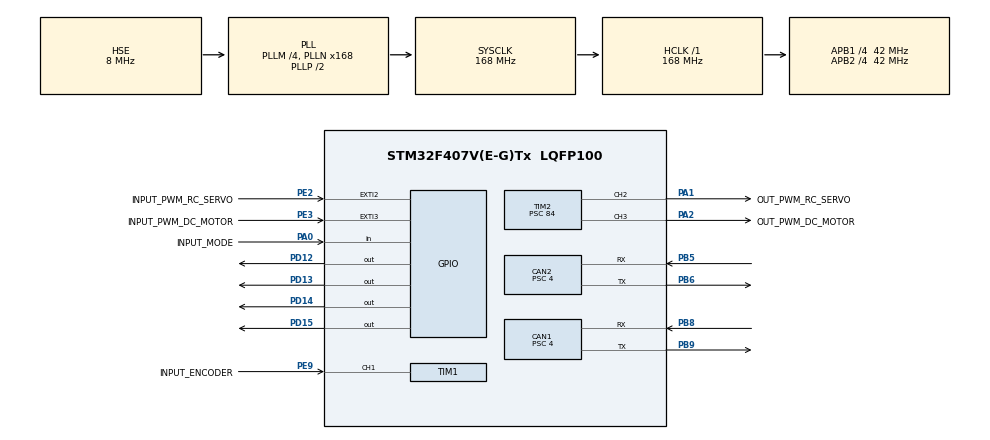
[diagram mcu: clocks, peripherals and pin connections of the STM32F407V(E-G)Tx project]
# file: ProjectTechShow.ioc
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CAN1.BS1=CAN_BS1_14TQ
CAN1.BS2=CAN_BS2_6TQ
CAN1.CalculateTimeBit=2000
CAN1.CalculateTimeQuantum=95.23809523809524
CAN1.Prescaler=4
CAN2.BS1=CAN_BS1_14TQ
CAN2.BS2=CAN_BS2_6TQ
CAN2.CalculateTimeBit=2000
CAN2.CalculateTimeQuantum=95.23809523809524
CAN2.Prescaler=4
Mcu.Family=STM32F4
Mcu.Name=STM32F407V(E-G)Tx
Mcu.Package=LQFP100
NVIC.CAN1_RX0_IRQn=true\:0\:0\:false\:false\:true
NVIC.CAN2_RX0_IRQn=true\:0\:0\:false\:false\:true
NVIC.EXTI2_IRQn=true\:0\:0\:false\:false\:true
NVIC.EXTI3_IRQn=true\:0\:0\:false\:false\:true
NVIC.PriorityGroup=NVIC_PRIORITYGROUP_0
NVIC.TIM4_IRQn=true\:0\:0\:false\:false\:true
PA0-WKUP.GPIO_Label=INPUT_MODE
PA0-WKUP.Signal=GPIO_Input
PA1.GPIO_Label=OUT_PWM_RC_SERVO
PA1.Signal=S_TIM2_CH2
PA2.GPIO_Label=OUT_PWM_DC_MOTOR
PA2.Signal=S_TIM2_CH3
PB5.Mode=Slave
PB5.Signal=CAN2_RX
PB6.Mode=Slave
PB6.Signal=CAN2_TX
PB8.Mode=Master
PB8.Signal=CAN1_RX
PB9.Mode=Master
PB9.Signal=CAN1_TX
PD12.Signal=GPIO_Output
PD13.Signal=GPIO_Output
PD14.Signal=GPIO_Output
PD15.Signal=GPIO_Output
PE2.GPIO_Label=INPUT_PWM_RC_SERVO
PE2.GPIO_ModeDefaultEXTI=GPIO_MODE_IT_RISING_FALLING
PE2.GPIO_PuPd=GPIO_PULLUP
PE2.Signal=GPXTI2
PE3.GPIO_Label=INPUT_PWM_DC_MOTOR
PE3.GPIO_ModeDefaultEXTI=GPIO_MODE_IT_RISING_FALLING
PE3.GPIO_PuPd=GPIO_PULLUP
PE3.Signal=GPXTI3
PE9.GPIO_Label=INPUT_ENCODER
PE9.Signal=S_TIM1_CH1
PH0-OSC_IN.Mode=HSE-External-Clock-Source
PH0-OSC_IN.Signal=RCC_OSC_IN
PH1-OSC_OUT.Mode=HSE-External-Clock-Source
PH1-OSC_OUT.Signal=RCC_OSC_OUT
ProjectManager.HeapSize=0x200
ProjectManager.StackSize=0x400
ProjectManager.TargetToolchain=MDK-ARM V5
RCC.48MHZClocksFreq_Value=48000000
RCC.AHBFreq_Value=168000000
RCC.APB1CLKDivider=RCC_HCLK_DIV4
RCC.APB1Freq_Value=42000000
RCC.APB1TimFreq_Value=84000000
RCC.APB2CLKDivider=RCC_HCLK_DIV4
RCC.APB2Freq_Value=42000000
RCC.APB2TimFreq_Value=84000000
RCC.CortexFreq_Value=168000000
RCC.HCLKFreq_Value=168000000
RCC.HSE_VALUE=8000000
RCC.HSI_VALUE=16000000
RCC.LSE_VALUE=32768
RCC.PLLM=4
RCC.PLLN=168
RCC.PLLQ=7
RCC.PLLSourceVirtual=RCC_PLLSOURCE_HSE
RCC.SYSCLKFreq_VALUE=168000000
RCC.SYSCLKSource=RCC_SYSCLKSOURCE_PLLCLK
RCC.VCOOutputFreq_Value=336000000
SH.S_TIM1_CH1.0=TIM1_CH1,TriggerSource_TI1FP1
SH.S_TIM2_CH2.0=TIM2_CH2,PWM Generation2 CH2
SH.S_TIM2_CH3.0=TIM2_CH3,PWM Generation3 CH3
TIM1.Period=0xffff
TIM1.Slave_TriggerFilter=15
TIM2.Channel-PWM\ Generation2\ CH2=TIM_CHANNEL_2
TIM2.Channel-PWM\ Generation3\ CH3=TIM_CHANNEL_3
TIM2.Period=19999
TIM2.Prescaler=84
TIM3.Period=49999
TIM3.Prescaler=84
TIM4.Period=9999
TIM4.Prescaler=84
VP_TIM1_VS_ControllerModeClock.Mode=Clock Mode
VP_TIM2_VS_ClockSourceINT.Mode=Internal
VP_TIM3_VS_ClockSourceINT.Mode=Internal
VP_TIM4_VS_ClockSourceINT.Mode=Internal
board=STM32F4DISCOVERY

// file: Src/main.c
/**
  ******************************************************************************
  * File Name          : main.c
  * Description        : Main program body
  ******************************************************************************
  *
  * COPYRIGHT(c) 2017 STMicroelectronics
  *
  * Redistribution and use in source and binary forms, with or without modification,
  * are permitted provided that the following conditions are met:
  *   1. Redistributions of source code must retain the above copyright notice,
  *      this list of conditions and the following disclaimer.
  *   2. Redistributions in binary form must reproduce the above copyright notice,
  *      this list of conditions and the following disclaimer in the documentation
  *      and/or other materials provided with the distribution.
  *   3. Neither the name of STMicroelectronics nor the names of its contributors
  *      may be used to endorse or promote products derived from this software
  *      without specific prior written permission.
  *
  * THIS SOFTWARE IS PROVIDED BY THE COPYRIGHT HOLDERS AND CONTRIBUTORS "AS IS"
  * AND ANY EXPRESS OR IMPLIED WARRANTIES, INCLUDING, BUT NOT LIMITED TO, THE
  * IMPLIED WARRANTIES OF MERCHANTABILITY AND FITNESS FOR A PARTICULAR PURPOSE ARE
  * DISCLAIMED. IN NO EVENT SHALL THE COPYRIGHT HOLDER OR CONTRIBUTORS BE LIABLE
  * FOR ANY DIRECT, INDIRECT, INCIDENTAL, SPECIAL, EXEMPLARY, OR CONSEQUENTIAL
  * DAMAGES (INCLUDING, BUT NOT LIMITED TO, PROCUREMENT OF SUBSTITUTE GOODS OR
  * SERVICES; LOSS OF USE, DATA, OR PROFITS; OR BUSINESS INTERRUPTION) HOWEVER
  * CAUSED AND ON ANY THEORY OF LIABILITY, WHETHER IN CONTRACT, STRICT LIABILITY,
  * OR TORT (INCLUDING NEGLIGENCE OR OTHERWISE) ARISING IN ANY WAY OUT OF THE USE
  * OF THIS SOFTWARE, EVEN IF ADVISED OF THE POSSIBILITY OF SUCH DAMAGE.
  *
  ******************************************************************************
  */
#include "main.h"
#include "stm32f4xx_hal.h"

CAN_HandleTypeDef hcan1;
CAN_HandleTypeDef hcan2;

TIM_HandleTypeDef htim1;
TIM_HandleTypeDef htim2;
TIM_HandleTypeDef htim3;
TIM_HandleTypeDef htim4;

/* USER CODE BEGIN PV */
/* Private variables ---------------------------------------------------------*/

/* USER CODE END PV */

void SystemClock_Config(void);
void Error_Handler(void);
static void MX_GPIO_Init(void);
static void MX_CAN1_Init(void);
static void MX_CAN2_Init(void);
static void MX_TIM1_Init(void);
static void MX_TIM2_Init(void);
static void MX_TIM3_Init(void);
static void MX_TIM4_Init(void);

void HAL_TIM_MspPostInit(TIM_HandleTypeDef *htim);

/* USER CODE BEGIN PFP */
/* Private function prototypes -----------------------------------------------*/
#define COUNTER_PERIOD_TIM3   50000
#define TIME_SIMPLE           0.01
#define MAX_SPEED_PULSE       300
#define FORWARD_DUTY_CYCLE    1480
#define MODE_COLLECT          0
#define MODE_AUTOPILOT        1
#define CAN_ID_STM_TO_TX2     0x1A0
#define CAN_ID_TX2_TO_STM     0x1A5
// servo 1460 950 1950

typedef struct {
  uint16_t speed;
  uint16_t steering;
  uint32_t flag;
}datacan;

volatile datacan *dataFrameTX;
volatile datacan *dataFrameRX;

static void CAN1_CONFIG(void);
static void CAN2_CONFIG(void);
static void pid_calculation(uint16_t setPointPulse);

volatile float g_Kp = 0.015;
volatile float g_Kd = 0.01;
volatile float g_Ki = 0.0;

volatile uint16_t g_uStartTime_RC = 0 , g_uEndTime_RC = 0;
volatile uint16_t g_uStartTime_DC = 0 , g_uEndTime_DC = 0;

volatile uint16_t g_Encoder = 0;

volatile uint16_t g_uPulseWidth_RC = 0;
volatile uint16_t g_uPulseWidth_DC = 0;

volatile uint8_t g_pulse_set_pid = 0;
volatile uint16_t g_steering = 0;
volatile double g_pulseOutput_DC = 0;

volatile uint8_t countToggleCollect = 0;
volatile uint32_t flag = 0;
/* USER CODE END PFP */

/* USER CODE BEGIN 0 */
static void pid_calculation(uint16_t setPointPulse)
{
   static volatile double iPart = 0, pPart = 0, dPart = 0;
   static volatile double output = 0, preOutput = 0;
   static volatile uint32_t uPrePulse = 0;
   static volatile int32_t nPulse = 0;
   static volatile int32_t nError = 0, nPreError = 0, nPrePreError = 0;

   nError = (setPointPulse - g_Encoder);

   pPart  = g_Kp*(nError - nPreError);
   iPart  = g_Ki*(0.5*(nError + nPreError)*TIME_SIMPLE);
   dPart  = g_Kd*(nError - 2*nPreError + nPrePreError)*(1/TIME_SIMPLE);

   output += preOutput + pPart + dPart + iPart;

   nPrePreError = nPreError;
   nPreError = nError;
   preOutput += pPart + dPart + iPart;

   if (output > MAX_SPEED_PULSE)
   {
      output = MAX_SPEED_PULSE;
   }
   else if (output < 0)
   {
      output = 0;
   }
   g_pulseOutput_DC = output + FORWARD_DUTY_CYCLE;

   //__HAL_TIM_SetCompare(&htim2 , TIM_CHANNEL_3, (int)g_pulseOutput_DC);

}
static void CAN1_CONFIG(void)
{
   CAN_FilterConfTypeDef  sFilterConfig;
   static CanTxMsgTypeDef TxMessage;
   static CanRxMsgTypeDef RxMessage;

   hcan1.pTxMsg = &TxMessage;
   hcan1.pRxMsg = &RxMessage;

   sFilterConfig.FilterNumber = 0;
   sFilterConfig.FilterMode = CAN_FILTERMODE_IDMASK;
   sFilterConfig.FilterScale = CAN_FILTERSCALE_32BIT;
   sFilterConfig.FilterIdHigh = 0x0000;
   sFilterConfig.FilterIdLow = 0x0000;
   sFilterConfig.FilterMaskIdHigh = 0x0000;
   sFilterConfig.FilterMaskIdLow = 0x0000;
   sFilterConfig.FilterFIFOAssignment = 0;
   sFilterConfig.FilterActivation = ENABLE;
   sFilterConfig.BankNumber = 14;

   if(HAL_CAN_ConfigFilter(&hcan1, &sFilterConfig) != HAL_OK)
   {
      Error_Handler();
   }

   hcan1.pTxMsg->StdId = CAN_ID_STM_TO_TX2;
   hcan1.pTxMsg->ExtId = 0x01;
   hcan1.pTxMsg->RTR = CAN_RTR_DATA;
   hcan1.pTxMsg->IDE = CAN_ID_STD;
   hcan1.pTxMsg->DLC = 8;
}
static void CAN2_CONFIG(void)
{
   CAN_FilterConfTypeDef  sFilterConfig;
   static CanTxMsgTypeDef TxMessage;
   static CanRxMsgTypeDef RxMessage;

   hcan2.pTxMsg = &TxMessage;
   hcan2.pRxMsg = &RxMessage;

   sFilterConfig.FilterNumber = 14;
   sFilterConfig.FilterMode = CAN_FILTERMODE_IDMASK;
   sFilterConfig.FilterScale = CAN_FILTERSCALE_32BIT;
   sFilterConfig.FilterIdHigh = 0x0000;
   sFilterConfig.FilterIdLow = 0x0000;
   sFilterConfig.FilterMaskIdHigh = 0x0000;
   sFilterConfig.FilterMaskIdLow = 0x0000;
   sFilterConfig.FilterFIFOAssignment = 0;
   sFilterConfig.FilterActivation = ENABLE;
   sFilterConfig.BankNumber = 14;

   if(HAL_CAN_ConfigFilter(&hcan2, &sFilterConfig) != HAL_OK)
   {
      Error_Handler();
   }

   hcan2.pTxMsg->StdId = 0x324;
   hcan2.pTxMsg->ExtId = 0x02;
   hcan2.pTxMsg->RTR = CAN_RTR_DATA;
   hcan2.pTxMsg->IDE = CAN_ID_STD;
   hcan2.pTxMsg->DLC = 8;
}

void HAL_CAN_RxCpltCallback(CAN_HandleTypeDef* CanHandle)
{
   /*if(CanHandle->Instance == hcan1.Instance)
   {
      if(HAL_CAN_Receive_IT(&hcan1, CAN_FIFO0) != HAL_OK)
      {
         HAL_CAN_ErrorCallback(&hcan1);
      }
      if(hcan1.pRxMsg->StdId == CAN_ID_TX2_TO_STM){
         HAL_GPIO_TogglePin(GPIOD,GPIO_PIN_15);
         dataFrameRX = (datacan*)hcan1.pRxMsg->Data;
      }

   }*/
   /*
   if(CanHandle->Instance == hcan2.Instance)
   {
      if(HAL_CAN_Receive_IT(&hcan2, CAN_FIFO0) != HAL_OK)
      {
         Error_Handler();
      }
      if(hcan2.pRxMsg->StdId == CAN_ID_STM_TO_TX2){
         HAL_GPIO_TogglePin(GPIOD,GPIO_PIN_15);
      }
   }
   */
}

void HAL_GPIO_EXTI_Callback(uint16_t GPIO_Pin)
{
  if (GPIO_Pin == INPUT_PWM_RC_SERVO_Pin)
  {
    if(HAL_GPIO_ReadPin(INPUT_PWM_RC_SERVO_GPIO_Port, INPUT_PWM_RC_SERVO_Pin) == 1)
    {
        g_uStartTime_RC = htim3.Instance->CNT;
    }
    else if (HAL_GPIO_ReadPin(INPUT_PWM_RC_SERVO_GPIO_Port, INPUT_PWM_RC_SERVO_Pin) == 0)
    {
      g_uEndTime_RC = htim3.Instance->CNT;
      if (g_uStartTime_RC <= g_uEndTime_RC)
      {
         g_uPulseWidth_RC = g_uEndTime_RC - g_uStartTime_RC;
      }
      else
      {
         g_uPulseWidth_RC = COUNTER_PERIOD_TIM3 + g_uEndTime_RC - g_uStartTime_RC ;
      }
    }
    //__HAL_TIM_SetCompare(&htim2, TIM_CHANNEL_2, g_uPulseWidth_RC);
  }
  else
  {
    if(HAL_GPIO_ReadPin(INPUT_PWM_DC_MOTOR_GPIO_Port, INPUT_PWM_DC_MOTOR_Pin) == 1)
    {
        g_uStartTime_DC = htim3.Instance->CNT;
    }
    else if (HAL_GPIO_ReadPin(INPUT_PWM_DC_MOTOR_GPIO_Port, INPUT_PWM_DC_MOTOR_Pin) == 0)
    {
      g_uEndTime_DC = htim3.Instance->CNT;
      if (g_uStartTime_DC <= g_uEndTime_DC)
      {
         g_uPulseWidth_DC = g_uEndTime_DC - g_uStartTime_DC;
      }
      else
      {
         g_uPulseWidth_DC = COUNTER_PERIOD_TIM3 + g_uEndTime_DC - g_uStartTime_DC ;
      }
    }
    //__HAL_TIM_SetCompare(&htim2, TIM_CHANNEL_3, g_uPulseWidth_DC);
  }
}

void HAL_TIM_PeriodElapsedCallback(TIM_HandleTypeDef *htim)
{

  if(htim->Instance == htim4.Instance)
  {
    g_Encoder = __HAL_TIM_GetCounter(&htim1);
    __HAL_TIM_SetCounter(&htim1, 0x00);
    if(HAL_GPIO_ReadPin(INPUT_MODE_GPIO_Port, INPUT_MODE_Pin) == MODE_AUTOPILOT && flag == 1)
    {
      pid_calculation(g_pulse_set_pid);
    }
    else
    {
      g_pulseOutput_DC = 1480;
    }
  }
}

/* USER CODE END 0 */
HAL_StatusTypeDef stt;
int main(void)
{

  /* MCU Configuration----------------------------------------------------------*/

  /* Reset of all peripherals, Initializes the Flash interface and the Systick. */
  HAL_Init();

  /* Configure the system clock */
  SystemClock_Config();

  /* Initialize all configured peripherals */
  MX_GPIO_Init();
  MX_CAN1_Init();
  MX_CAN2_Init();
  MX_TIM1_Init();
  MX_TIM2_Init();
  MX_TIM3_Init();
  MX_TIM4_Init();

  /* USER CODE BEGIN 2 */
  CAN1_CONFIG();
  CAN2_CONFIG();
  /*
  if(HAL_CAN_Receive_IT(&hcan1, CAN_FIFO0) != HAL_OK)
  {
    HAL_CAN_ErrorCallback(&hcan1);
  }

  if(HAL_CAN_Receive_IT(&hcan2, CAN_FIFO0) != HAL_OK)
  {
    Error_Handler();
  }*/

  HAL_Delay(500);

  HAL_TIM_PWM_Start(&htim2, TIM_CHANNEL_2);
  HAL_TIM_PWM_Start(&htim2, TIM_CHANNEL_3);

  HAL_Delay(500);
  __HAL_TIM_SetCompare(&htim2, TIM_CHANNEL_3, 1500);
  HAL_Delay(500);
  __HAL_TIM_SetCompare(&htim2, TIM_CHANNEL_3, 1500);
  HAL_Delay(500);

  g_pulse_set_pid = 0;
  HAL_TIM_Base_Start(&htim1);
  HAL_TIM_Base_Start(&htim3);
  HAL_TIM_Base_Start_IT(&htim4);

  /* USER CODE END 2 */
  /* Infinite loop */
  while (1)
  {

  /* USER CODE BEGIN 3 */

    if(HAL_GPIO_ReadPin(INPUT_MODE_GPIO_Port, INPUT_MODE_Pin) == MODE_COLLECT)
    {
      countToggleCollect++;

      HAL_GPIO_WritePin(GPIOD, GPIO_PIN_14, GPIO_PIN_RESET);

      dataFrameTX = (datacan*)hcan1.pTxMsg->Data;
      dataFrameTX->speed = g_Encoder;
      dataFrameTX->steering = g_uPulseWidth_RC;
      /*
      hcan1.pTxMsg->Data[0] = g_Encoder;
      hcan1.pTxMsg->Data[1] = g_uPulseWidth_RC;
      hcan1.pTxMsg->Data[2] = g_uPulseWidth_RC >> 8;
      status = HAL_CAN_Transmit(&hcan1, 10);*/

      if(HAL_CAN_Transmit(&hcan1, 10) != HAL_OK)
      {
        HAL_CAN_ErrorCallback(&hcan1);
      }

      __HAL_TIM_SetCompare(&htim2, TIM_CHANNEL_2, g_uPulseWidth_RC);
      __HAL_TIM_SetCompare(&htim2, TIM_CHANNEL_3, g_uPulseWidth_DC);
      HAL_Delay(20);
      if( countToggleCollect >= 5)
      {
        countToggleCollect = 0;
        HAL_GPIO_TogglePin(GPIOD, GPIO_PIN_13);
      }
    }
    else
    {

      HAL_GPIO_WritePin(GPIOD, GPIO_PIN_13, GPIO_PIN_RESET);
      stt = HAL_CAN_Receive(&hcan1, CAN_FIFO0, 10);
      /*if (HAL_CAN_Receive(&hcan1, CAN_FIFO0, 10)!= HAL_OK)
      {
        HAL_CAN_ErrorCallback(&hcan1);
      }*/
      if(hcan1.pRxMsg->StdId == CAN_ID_TX2_TO_STM)
      {
         HAL_GPIO_TogglePin(GPIOD,GPIO_PIN_15);
         dataFrameRX = (datacan*)hcan1.pRxMsg->Data;
         g_pulse_set_pid = dataFrameRX->speed;
         g_steering = dataFrameRX->steering;
         flag = dataFrameRX->flag;
      }
      __HAL_TIM_SetCompare(&htim2, TIM_CHANNEL_2, g_steering);
      __HAL_TIM_SetCompare(&htim2, TIM_CHANNEL_3, g_pulseOutput_DC);
      //HAL_Delay(10);
    }

  }
  /* USER CODE END 3 */
}

/** System Clock Configuration
*/
void SystemClock_Config(void)
{

  RCC_OscInitTypeDef RCC_OscInitStruct;
  RCC_ClkInitTypeDef RCC_ClkInitStruct;

    /**Configure the main internal regulator output voltage
    */
  __HAL_RCC_PWR_CLK_ENABLE();

  __HAL_PWR_VOLTAGESCALING_CONFIG(PWR_REGULATOR_VOLTAGE_SCALE1);

    /**Initializes the CPU, AHB and APB busses clocks
    */
  RCC_OscInitStruct.OscillatorType = RCC_OSCILLATORTYPE_HSE;
  RCC_OscInitStruct.HSEState = RCC_HSE_BYPASS;
  RCC_OscInitStruct.PLL.PLLState = RCC_PLL_ON;
  RCC_OscInitStruct.PLL.PLLSource = RCC_PLLSOURCE_HSE;
  RCC_OscInitStruct.PLL.PLLM = 4;
  RCC_OscInitStruct.PLL.PLLN = 168;
  RCC_OscInitStruct.PLL.PLLP = RCC_PLLP_DIV2;
  RCC_OscInitStruct.PLL.PLLQ = 7;
  if (HAL_RCC_OscConfig(&RCC_OscInitStruct) != HAL_OK)
  {
    Error_Handler();
  }

    /**Initializes the CPU, AHB and APB busses clocks
    */
  RCC_ClkInitStruct.ClockType = RCC_CLOCKTYPE_HCLK|RCC_CLOCKTYPE_SYSCLK
                              |RCC_CLOCKTYPE_PCLK1|RCC_CLOCKTYPE_PCLK2;
  RCC_ClkInitStruct.SYSCLKSource = RCC_SYSCLKSOURCE_PLLCLK;
  RCC_ClkInitStruct.AHBCLKDivider = RCC_SYSCLK_DIV1;
  RCC_ClkInitStruct.APB1CLKDivider = RCC_HCLK_DIV4;
  RCC_ClkInitStruct.APB2CLKDivider = RCC_HCLK_DIV4;

  if (HAL_RCC_ClockConfig(&RCC_ClkInitStruct, FLASH_LATENCY_5) != HAL_OK)
  {
    Error_Handler();
  }

    /**Configure the Systick interrupt time
    */
  HAL_SYSTICK_Config(HAL_RCC_GetHCLKFreq()/1000);

    /**Configure the Systick
    */
  HAL_SYSTICK_CLKSourceConfig(SYSTICK_CLKSOURCE_HCLK);

  /* SysTick_IRQn interrupt configuration */
  HAL_NVIC_SetPriority(SysTick_IRQn, 0, 0);
}

/* CAN1 init function */
static void MX_CAN1_Init(void)
{

  hcan1.Instance = CAN1;
  hcan1.Init.Prescaler = 4;
  hcan1.Init.Mode = CAN_MODE_NORMAL;
  hcan1.Init.SJW = CAN_SJW_1TQ;
  hcan1.Init.BS1 = CAN_BS1_14TQ;
  hcan1.Init.BS2 = CAN_BS2_6TQ;
  hcan1.Init.TTCM = DISABLE;
  hcan1.Init.ABOM = DISABLE;
  hcan1.Init.AWUM = DISABLE;
  hcan1.Init.NART = DISABLE;
  hcan1.Init.RFLM = DISABLE;
  hcan1.Init.TXFP = DISABLE;
  if (HAL_CAN_Init(&hcan1) != HAL_OK)
  {
    Error_Handler();
  }

}

/* CAN2 init function */
static void MX_CAN2_Init(void)
{

  hcan2.Instance = CAN2;
  hcan2.Init.Prescaler = 4;
  hcan2.Init.Mode = CAN_MODE_NORMAL;
  hcan2.Init.SJW = CAN_SJW_1TQ;
  hcan2.Init.BS1 = CAN_BS1_14TQ;
  hcan2.Init.BS2 = CAN_BS2_6TQ;
  hcan2.Init.TTCM = DISABLE;
  hcan2.Init.ABOM = DISABLE;
  hcan2.Init.AWUM = DISABLE;
  hcan2.Init.NART = DISABLE;
  hcan2.Init.RFLM = DISABLE;
  hcan2.Init.TXFP = DISABLE;
  if (HAL_CAN_Init(&hcan2) != HAL_OK)
  {
    Error_Handler();
  }

}

/* TIM1 init function */
static void MX_TIM1_Init(void)
{

  TIM_SlaveConfigTypeDef sSlaveConfig;
  TIM_MasterConfigTypeDef sMasterConfig;

  htim1.Instance = TIM1;
  htim1.Init.Prescaler = 0;
  htim1.Init.CounterMode = TIM_COUNTERMODE_UP;
  htim1.Init.Period = 0xffff;
  htim1.Init.ClockDivision = TIM_CLOCKDIVISION_DIV1;
  htim1.Init.RepetitionCounter = 0;
  if (HAL_TIM_Base_Init(&htim1) != HAL_OK)
  {
    Error_Handler();
  }

  sSlaveConfig.SlaveMode = TIM_SLAVEMODE_EXTERNAL1;
  sSlaveConfig.InputTrigger = TIM_TS_TI1FP1;
  sSlaveConfig.TriggerPolarity = TIM_TRIGGERPOLARITY_RISING;
  sSlaveConfig.TriggerFilter = 15;
  if (HAL_TIM_SlaveConfigSynchronization(&htim1, &sSlaveConfig) != HAL_OK)
  {
    Error_Handler();
  }

  sMasterConfig.MasterOutputTrigger = TIM_TRGO_RESET;
  sMasterConfig.MasterSlaveMode = TIM_MASTERSLAVEMODE_DISABLE;
  if (HAL_TIMEx_MasterConfigSynchronization(&htim1, &sMasterConfig) != HAL_OK)
  {
    Error_Handler();
  }

}

/* TIM2 init function */
static void MX_TIM2_Init(void)
{

  TIM_ClockConfigTypeDef sClockSourceConfig;
  TIM_MasterConfigTypeDef sMasterConfig;
  TIM_OC_InitTypeDef sConfigOC;

  htim2.Instance = TIM2;
  htim2.Init.Prescaler = 84;
  htim2.Init.CounterMode = TIM_COUNTERMODE_UP;
  htim2.Init.Period = 19999;
  htim2.Init.ClockDivision = TIM_CLOCKDIVISION_DIV1;
  if (HAL_TIM_Base_Init(&htim2) != HAL_OK)
  {
    Error_Handler();
  }

  sClockSourceConfig.ClockSource = TIM_CLOCKSOURCE_INTERNAL;
  if (HAL_TIM_ConfigClockSource(&htim2, &sClockSourceConfig) != HAL_OK)
  {
    Error_Handler();
  }

  if (HAL_TIM_PWM_Init(&htim2) != HAL_OK)
  {
    Error_Handler();
  }

  sMasterConfig.MasterOutputTrigger = TIM_TRGO_RESET;
  sMasterConfig.MasterSlaveMode = TIM_MASTERSLAVEMODE_DISABLE;
  if (HAL_TIMEx_MasterConfigSynchronization(&htim2, &sMasterConfig) != HAL_OK)
  {
    Error_Handler();
  }

  sConfigOC.OCMode = TIM_OCMODE_PWM1;
  sConfigOC.Pulse = 0;
  sConfigOC.OCPolarity = TIM_OCPOLARITY_HIGH;
  sConfigOC.OCFastMode = TIM_OCFAST_DISABLE;
  if (HAL_TIM_PWM_ConfigChannel(&htim2, &sConfigOC, TIM_CHANNEL_2) != HAL_OK)
  {
    Error_Handler();
  }

  if (HAL_TIM_PWM_ConfigChannel(&htim2, &sConfigOC, TIM_CHANNEL_3) != HAL_OK)
  {
    Error_Handler();
  }

  HAL_TIM_MspPostInit(&htim2);

}

/* TIM3 init function */
static void MX_TIM3_Init(void)
{

  TIM_ClockConfigTypeDef sClockSourceConfig;
  TIM_MasterConfigTypeDef sMasterConfig;

  htim3.Instance = TIM3;
  htim3.Init.Prescaler = 84;
  htim3.Init.CounterMode = TIM_COUNTERMODE_UP;
  htim3.Init.Period = 49999;
  htim3.Init.ClockDivision = TIM_CLOCKDIVISION_DIV1;
  if (HAL_TIM_Base_Init(&htim3) != HAL_OK)
  {
    Error_Handler();
  }

  sClockSourceConfig.ClockSource = TIM_CLOCKSOURCE_INTERNAL;
  if (HAL_TIM_ConfigClockSource(&htim3, &sClockSourceConfig) != HAL_OK)
  {
    Error_Handler();
  }

  sMasterConfig.MasterOutputTrigger = TIM_TRGO_RESET;
  sMasterConfig.MasterSlaveMode = TIM_MASTERSLAVEMODE_DISABLE;
  if (HAL_TIMEx_MasterConfigSynchronization(&htim3, &sMasterConfig) != HAL_OK)
  {
    Error_Handler();
  }

}

/* TIM4 init function */
static void MX_TIM4_Init(void)
{

  TIM_ClockConfigTypeDef sClockSourceConfig;
  TIM_MasterConfigTypeDef sMasterConfig;

  htim4.Instance = TIM4;
  htim4.Init.Prescaler = 84;
  htim4.Init.CounterMode = TIM_COUNTERMODE_UP;
  htim4.Init.Period = 9999;
  htim4.Init.ClockDivision = TIM_CLOCKDIVISION_DIV1;
  if (HAL_TIM_Base_Init(&htim4) != HAL_OK)
  {
    Error_Handler();
  }

  sClockSourceConfig.ClockSource = TIM_CLOCKSOURCE_INTERNAL;
  if (HAL_TIM_ConfigClockSource(&htim4, &sClockSourceConfig) != HAL_OK)
  {
    Error_Handler();
  }

  sMasterConfig.MasterOutputTrigger = TIM_TRGO_RESET;
  sMasterConfig.MasterSlaveMode = TIM_MASTERSLAVEMODE_DISABLE;
  if (HAL_TIMEx_MasterConfigSynchronization(&htim4, &sMasterConfig) != HAL_OK)
  {
    Error_Handler();
  }

}

/** Configure pins as
        * Analog
        * Input
        * Output
        * EVENT_OUT
        * EXTI
*/
static void MX_GPIO_Init(void)
{

  GPIO_InitTypeDef GPIO_InitStruct;

  /* GPIO Ports Clock Enable */
  __HAL_RCC_GPIOE_CLK_ENABLE();
  __HAL_RCC_GPIOH_CLK_ENABLE();
  __HAL_RCC_GPIOA_CLK_ENABLE();
  __HAL_RCC_GPIOD_CLK_ENABLE();
  __HAL_RCC_GPIOB_CLK_ENABLE();

  /*Configure GPIO pins : INPUT_PWM_RC_SERVO_Pin INPUT_PWM_DC_MOTOR_Pin */
  GPIO_InitStruct.Pin = INPUT_PWM_RC_SERVO_Pin|INPUT_PWM_DC_MOTOR_Pin;
  GPIO_InitStruct.Mode = GPIO_MODE_IT_RISING_FALLING;
  GPIO_InitStruct.Pull = GPIO_PULLUP;
  HAL_GPIO_Init(GPIOE, &GPIO_InitStruct);

  /*Configure GPIO pin : INPUT_MODE_Pin */
  GPIO_InitStruct.Pin = INPUT_MODE_Pin;
  GPIO_InitStruct.Mode = GPIO_MODE_INPUT;
  GPIO_InitStruct.Pull = GPIO_NOPULL;
  HAL_GPIO_Init(INPUT_MODE_GPIO_Port, &GPIO_InitStruct);

  /*Configure GPIO pins : PD12 PD13 PD14 PD15 */
  GPIO_InitStruct.Pin = GPIO_PIN_12|GPIO_PIN_13|GPIO_PIN_14|GPIO_PIN_15;
  GPIO_InitStruct.Mode = GPIO_MODE_OUTPUT_PP;
  GPIO_InitStruct.Pull = GPIO_NOPULL;
  GPIO_InitStruct.Speed = GPIO_SPEED_FREQ_LOW;
  HAL_GPIO_Init(GPIOD, &GPIO_InitStruct);

  /*Configure GPIO pin Output Level */
  HAL_GPIO_WritePin(GPIOD, GPIO_PIN_12|GPIO_PIN_13|GPIO_PIN_14|GPIO_PIN_15, GPIO_PIN_RESET);

  /* EXTI interrupt init*/
  HAL_NVIC_SetPriority(EXTI2_IRQn, 0, 0);
  HAL_NVIC_EnableIRQ(EXTI2_IRQn);

  HAL_NVIC_SetPriority(EXTI3_IRQn, 0, 0);
  HAL_NVIC_EnableIRQ(EXTI3_IRQn);

}

void Error_Handler(void)
{
  while(1)
  {
  }
}

/************************ (C) COPYRIGHT STMicroelectronics *****END OF FILE****/
